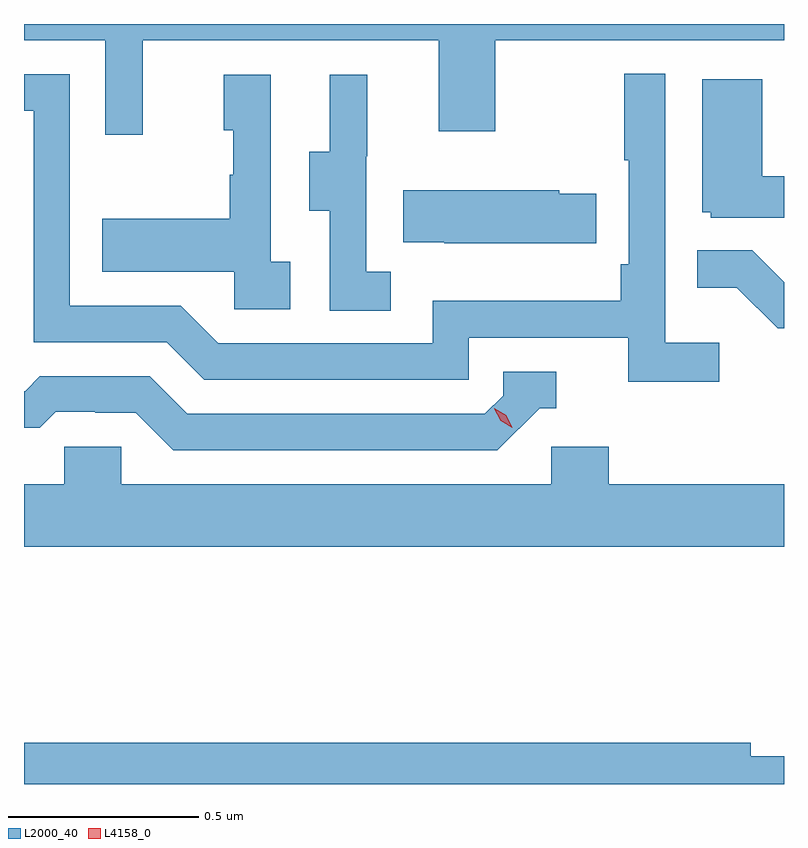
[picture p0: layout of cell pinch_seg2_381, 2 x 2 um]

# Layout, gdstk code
import gdstk
lib = gdstk.Library(unit=1e-6, precision=1e-09)
def P(c, l, *ps):  # polygons
    for p in ps: c.add(gdstk.Polygon(p, *l))
L2000_40 = (2000, 40)
L4158_0 = (4158, 0)

pinch_seg2_381 = lib.new_cell('pinch_seg2_381')
P(pinch_seg2_381, L2000_40, [(990.377,619.664),(991.157,619.664),(991.157,619.425),(991.305,619.425),(991.305,619.664),(992.065,619.664),(992.065,619.707),(990.065,619.707),(990.065,619.664),(990.279,619.664),(990.279,619.416),(990.377,619.416)],
  [(991.894,618.868),(991.752,618.868),(991.752,619.576),(991.644,619.576),(991.644,619.348),(991.656,619.348),(991.656,619.075),(991.636,619.075),(991.636,618.979),(991.14,618.979),(991.14,618.867),(990.576,618.867),(990.477,618.966),(990.186,618.966),(990.186,619.575),(990.065,619.575),(990.065,619.479),(990.09,619.479),(990.09,618.87),(990.44,618.87),(990.539,618.771),(991.236,618.771),(991.236,618.882),(991.655,618.882),(991.655,618.766),(991.894,618.766)],
  [(991.03,619.055),(990.966,619.055),(990.966,619.359),(990.968,619.359),(990.968,619.573),(990.869,619.573),(990.869,619.371),(990.815,619.371),(990.815,619.216),(990.87,619.216),(990.87,618.952),(991.03,618.952)],
  [(990.766,619.082),(990.714,619.082),(990.714,619.573),(990.59,619.573),(990.59,619.428),(990.616,619.428),(990.616,619.31),(990.606,619.31),(990.606,619.195),(990.271,619.195),(990.271,619.055),(990.618,619.055),(990.618,618.957),(990.766,618.957)],
  [(992.065,619.306),(992.008,619.306),(992.008,619.561),(991.85,619.561),(991.85,619.212),(991.872,619.212),(991.872,619.197),(992.065,619.197)],
  [(991.571,619.26),(991.473,619.26),(991.473,619.27),(991.063,619.27),(991.063,619.133),(991.171,619.133),(991.171,619.13),(991.571,619.13)],
  [(992.065,619.028),(991.981,619.112),(991.837,619.112),(991.837,619.013),(991.941,619.013),(992.048,618.906),(992.065,618.906)],
  [(991.422,618.696),(991.465,618.696),(991.465,618.792),(991.326,618.792),(991.326,618.729),(991.278,618.681),(990.495,618.681),(990.396,618.78),(990.107,618.78),(990.068,618.741),(990.065,618.741),(990.065,618.645),(990.107,618.645),(990.149,618.687),(990.252,618.687),(990.252,618.684),(990.359,618.684),(990.458,618.585),(991.311,618.585)],
  [(992.065,618.496),(991.604,618.496),(991.604,618.594),(991.452,618.594),(991.452,618.496),(990.321,618.496),(990.321,618.594),(990.171,618.594),(990.171,618.496),(990.065,618.496),(990.065,618.332),(992.065,618.332)],
  [(992.065,617.78),(991.978,617.78),(991.978,617.816),(990.065,617.816),(990.065,617.707),(992.065,617.707)])
P(pinch_seg2_381, L4158_0, [(991.35,618.644),(991.319,618.663),(991.302,618.695),(991.302,618.696),(991.303,618.696),(991.334,618.677),(991.35,618.644),(991.35,618.644)])

lib.write_gds('pinch_seg2_381.gds')
